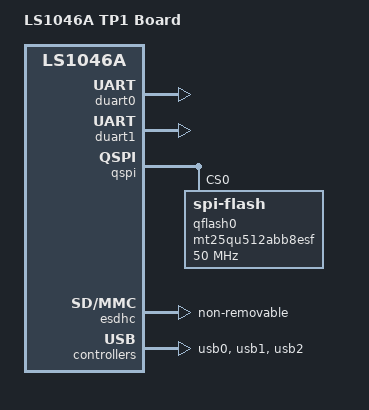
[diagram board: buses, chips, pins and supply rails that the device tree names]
// SPDX-License-Identifier: GPL-2.0+ OR X11
/*
 * Device Tree Include file for NXP Layerscape-1046A family SoC.
 *
 * Copyright 2022, 2026 NXP
 *
 */

/dts-v1/;
#include "fsl-ls1046a.dtsi"

/ {
	model = "LS1046A TP1 Board";

	aliases {
		spi0 = &qspi;
		serial0 = &duart0;
		serial1 = &duart1;
	};

};

&duart0 {
	status = "okay";
};

&duart1 {
	status = "okay";
};

&qspi {
	bus-num = <0>;
	status = "okay";

	qflash0: mt25qu512abb8esf@0 {
		#address-cells = <1>;
		#size-cells = <1>;
		compatible = "spi-flash";
		spi-max-frequency = <50000000>;
		reg = <0>;
	};

};

&esdhc {
	non-removable;
};


&usb0 {
	status = "okay";
};

&usb1 {
	status = "okay";
};

&usb2 {
        status = "okay";
};

